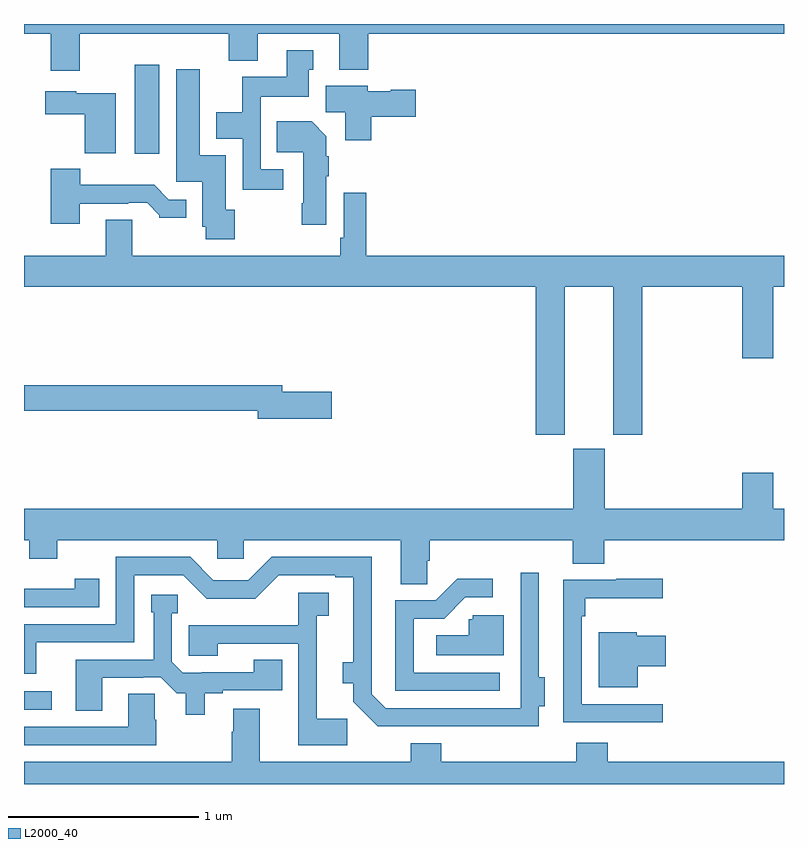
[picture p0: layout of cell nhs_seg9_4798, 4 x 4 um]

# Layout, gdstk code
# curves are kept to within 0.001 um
import gdstk
lib = gdstk.Library(unit=1e-6, precision=1e-09)
def R(c, l, rs):  # rectangles x0, y0, x1, y1
    for r in rs: c.add(gdstk.rectangle(r[:2], r[2:], *l))
def P(c, l, *ps):  # polygons
    for p in ps: c.add(gdstk.Polygon(p, *l))
L2000_40 = (2000, 40)

nhs_seg9_4798 = lib.new_cell('nhs_seg9_4798')
R(nhs_seg9_4798, L2000_40, [(389,1164.891,389.146,1164.987), (389.582,1167.816,389.713,1168.285)])
P(nhs_seg9_4798, L2000_40, [(389.293,1168.448),(390.077,1168.448),(390.077,1168.307),(390.229,1168.307),(390.229,1168.448),(390.659,1168.448),(390.659,1168.259),(390.812,1168.259),(390.812,1168.448),(393,1168.448),(393,1168.5),(389,1168.5),(389,1168.448),(389.141,1168.448),(389.141,1168.254),(389.293,1168.254)],
  [(390.364,1167.735),(390.246,1167.735),(390.246,1168.118),(390.499,1168.118),(390.499,1168.26),(390.523,1168.26),(390.523,1168.363),(390.383,1168.363),(390.383,1168.222),(390.148,1168.222),(390.148,1168.036),(390.011,1168.036),(390.011,1167.896),(390.15,1167.896),(390.15,1167.627),(390.364,1167.627)],
  [(390.108,1167.522),(390.061,1167.522),(390.061,1167.808),(389.926,1167.808),(389.926,1168.261),(389.801,1168.261),(389.801,1167.669),(389.939,1167.669),(389.939,1167.432),(389.956,1167.432),(389.956,1167.366),(390.108,1167.366)],
  [(390.827,1168.013),(391.063,1168.013),(391.063,1168.155),(390.93,1168.155),(390.93,1168.147),(390.81,1168.147),(390.81,1168.174),(390.587,1168.174),(390.587,1168.036),(390.692,1168.036),(390.692,1167.888),(390.827,1167.888)],
  [(389.482,1168.135),(389.274,1168.135),(389.274,1168.147),(389.112,1168.147),(389.112,1168.025),(389.32,1168.025),(389.32,1167.821),(389.482,1167.821)],
  [(390.592,1167.7),(390.605,1167.7),(390.605,1167.803),(390.592,1167.803),(390.592,1167.91),(390.514,1167.988),(390.331,1167.988),(390.331,1167.824),(390.47,1167.824),(390.47,1167.556),(390.463,1167.556),(390.463,1167.444),(390.592,1167.444)],
  [(389.293,1167.555),(389.549,1167.555),(389.549,1167.558),(389.648,1167.558),(389.712,1167.494),(389.712,1167.479),(389.854,1167.479),(389.854,1167.576),(389.763,1167.576),(389.685,1167.655),(389.296,1167.655),(389.296,1167.739),(389.141,1167.739),(389.141,1167.45),(389.293,1167.45)],
  [(391.846,1167.116),(392.102,1167.116),(392.102,1166.337),(392.255,1166.337),(392.255,1167.116),(392.78,1167.116),(392.78,1166.742),(392.944,1166.742),(392.944,1167.116),(393,1167.116),(393,1167.28),(390.8,1167.28),(390.8,1167.613),(390.684,1167.613),(390.684,1167.376),(390.664,1167.376),(390.664,1167.28),(389.569,1167.28),(389.569,1167.47),(389.429,1167.47),(389.429,1167.28),(389,1167.28),(389,1167.116),(391.694,1167.116),(391.694,1166.337),(391.846,1166.337)],
  [(390.619,1166.564),(390.358,1166.564),(390.358,1166.6),(389,1166.6),(389,1166.464),(390.23,1166.464),(390.23,1166.422),(390.619,1166.422)],
  [(391.122,1165.675),(391.136,1165.675),(391.136,1165.784),(391.889,1165.784),(391.889,1165.66),(392.054,1165.66),(392.054,1165.784),(393,1165.784),(393,1165.948),(392.944,1165.948),(392.944,1166.137),(392.78,1166.137),(392.78,1165.948),(392.056,1165.948),(392.056,1166.265),(391.892,1166.265),(391.892,1165.948),(389,1165.948),(389,1165.784),(389.027,1165.784),(389.027,1165.685),(389.175,1165.685),(389.175,1165.784),(390.018,1165.784),(390.018,1165.686),(390.156,1165.686),(390.156,1165.784),(390.983,1165.784),(390.983,1165.552),(391.122,1165.552)],
  [(390.964,1164.804),(391.71,1164.803),(391.71,1164.908),(391.741,1164.908),(391.741,1165.061),(391.71,1165.061),(391.71,1165.612),(391.614,1165.612),(391.614,1164.9),(390.903,1164.9),(390.831,1164.972),(390.831,1165.695),(390.303,1165.695),(390.18,1165.572),(389.997,1165.572),(389.874,1165.695),(389.484,1165.695),(389.484,1165.341),(389,1165.341),(389,1165.08),(389.065,1165.08),(389.065,1165.245),(389.58,1165.245),(389.58,1165.599),(389.838,1165.599),(389.962,1165.475),(390.216,1165.475),(390.34,1165.599),(390.638,1165.599),(390.638,1165.587),(390.734,1165.587),(390.734,1165.141),(390.677,1165.141),(390.677,1165.031),(390.734,1165.031),(390.734,1164.932),(390.863,1164.803)],
  [(391.504,1165.086),(391.05,1165.086),(391.05,1165.371),(391.212,1165.371),(391.323,1165.482),(391.468,1165.482),(391.468,1165.58),(391.28,1165.58),(391.167,1165.467),(390.954,1165.467),(390.954,1164.99),(391.504,1164.99)],
  [(389.395,1165.579),(389.267,1165.579),(389.267,1165.528),(389,1165.528),(389,1165.431),(389.395,1165.431)],
  [(392.362,1164.921),(391.935,1164.921),(391.935,1165.382),(391.955,1165.382),(391.955,1165.478),(392.362,1165.478),(392.362,1165.579),(392.117,1165.579),(392.117,1165.575),(391.839,1165.575),(391.839,1164.825),(392.362,1164.825)],
  [(390.702,1164.843),(390.541,1164.843),(390.541,1165.386),(390.604,1165.386),(390.604,1165.507),(390.444,1165.507),(390.444,1165.336),(389.977,1165.336),(389.977,1165.335),(389.867,1165.335),(389.867,1165.174),(390.021,1165.174),(390.021,1165.239),(390.444,1165.239),(390.444,1164.704),(390.702,1164.704)],
  [(389.95,1164.978),(390.046,1164.978),(390.046,1164.993),(390.359,1164.993),(390.359,1165.154),(390.208,1165.154),(390.208,1165.089),(389.935,1165.089),(389.935,1165.086),(389.835,1165.086),(389.778,1165.143),(389.778,1165.399),(389.808,1165.399),(389.808,1165.497),(389.669,1165.497),(389.669,1165.404),(389.682,1165.404),(389.682,1165.155),(389.273,1165.155),(389.273,1164.886),(389.413,1164.886),(389.413,1165.059),(389.627,1165.059),(389.627,1165.062),(389.721,1165.062),(389.805,1164.978),(389.852,1164.978),(389.852,1164.864),(389.95,1164.864)],
  [(391.525,1165.389),(391.362,1165.389),(391.362,1165.368),(391.341,1165.368),(391.341,1165.282),(391.17,1165.282),(391.17,1165.178),(391.525,1165.178)],
  [(392.23,1165.121),(392.377,1165.121),(392.377,1165.279),(392.226,1165.279),(392.226,1165.3),(392.024,1165.3),(392.024,1165.01),(392.23,1165.01)],
  [(389.697,1164.837),(389.687,1164.837),(389.687,1164.974),(389.549,1164.974),(389.549,1164.801),(389,1164.801),(389,1164.705),(389.697,1164.705)],
  [(393,1164.616),(392.072,1164.616),(392.072,1164.718),(391.907,1164.718),(391.907,1164.616),(391.196,1164.616),(391.196,1164.715),(391.036,1164.715),(391.036,1164.616),(390.241,1164.616),(390.241,1164.895),(390.101,1164.895),(390.101,1164.776),(390.094,1164.776),(390.094,1164.616),(389,1164.616),(389,1164.5),(393,1164.5)])

lib.write_gds('nhs_seg9_4798.gds')
